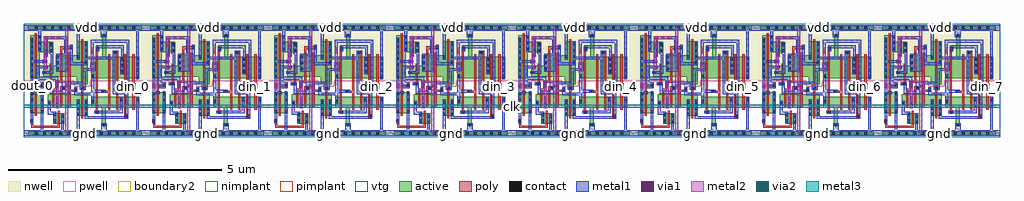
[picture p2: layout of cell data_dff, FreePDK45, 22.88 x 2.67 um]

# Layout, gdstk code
import gdstk
lib = gdstk.Library(unit=1e-6, precision=5e-10)
def R(c, l, rs):  # rectangles x0, y0, x1, y1
    for r in rs: c.add(gdstk.rectangle(r[:2], r[2:], *l))
def A(c, l, x, y, w, h, nx, ny, dx, dy):  # array of equal rectangles
    R(c, l, [(x+i*dx, y+j*dy, x+i*dx+w, y+j*dy+h) for i in range(nx) for j in range(ny)])
def P(c, l, *ps):  # polygons
    for p in ps: c.add(gdstk.Polygon(p, *l))
active = (1, 0)
pwell = (2, 0)
nwell = (3, 0)
nimplant = (4, 0)
pimplant = (5, 0)
vtg = (6, 0)
poly = (9, 0)
contact = (10, 0)
metal1 = (11, 0)
via1 = (12, 0)
metal2 = (13, 0)
via2 = (14, 0)
metal3 = (15, 0)
boundary2 = (239, 0)

dff = lib.new_cell('dff')
A(dff, active, 1.9725, 0.6, 0.05, 0.25, 4, 1, 0.19, 0)
A(dff, active, 2.0225, 0.6, 0.14, 0.25, 3, 1, 0.19, 0)
A(dff, active, 0.6625, 0.6575, 0.05, 0.25, 3, 1, 0.19, 0)
A(dff, active, 1.9725, 1.2925, 0.05, 0.5, 4, 1, 0.19, 0)
A(dff, active, 2.0225, 1.2925, 0.14, 0.5, 3, 1, 0.19, 0)
R(dff, active, [(0.1,-0.045,2.76,0.045), (0.6825,0.2225,0.7875,0.4725), (0.7875,0.2225,0.8375,0.4725), (0.8375,0.2225,0.9425,0.4725), (1.3375,0.4075,1.3875,0.9075), (1.3875,0.4075,1.4925,0.9075), (0.1475,0.4625,0.2525,0.9625), (0.2525,0.4625,0.3025,0.9625), (0.3025,0.4625,0.4575,0.9625), (1.5725,0.6,1.6775,0.85), (1.6775,0.6,1.7275,0.85), (2.5925,0.6,2.6975,0.85), (0.5525,0.6575,0.6625,0.9075), (0.7125,0.6575,0.8525,0.9075), (0.9025,0.6575,1.0425,0.9075), (1.3375,1.15,1.3875,2.15), (1.3875,1.15,1.4925,2.15), (0.1475,1.2925,0.2525,2.2925), (0.2525,1.2925,0.3025,2.2925), (1.5725,1.2925,1.6775,1.7925), (1.6775,1.2925,1.7275,1.7925), (2.5925,1.2925,2.6975,1.7925), (0.4525,1.3275,0.6025,1.5775), (0.6025,1.3275,0.6525,1.5775), (0.8525,1.3275,0.9025,1.8275), (0.9025,1.3275,1.0425,1.8275), (1.0425,1.3275,1.0925,1.8275), (0.5125,1.8925,0.5625,2.1425), (0.5625,1.8925,0.6675,2.1425), (0.1,2.425,2.76,2.515)])
P(dff, active, [(1.7275,1.2925),(1.9725,1.2925),(1.9725,1.7925),(1.9225,1.7925),(1.9225,2.3225),(1.8325,2.3225),(1.8325,1.7925),(1.7275,1.7925)],
  [(1.0925,1.3275),(1.2325,1.3275),(1.2325,1.15),(1.3375,1.15),(1.3375,2.15),(1.2325,2.15),(1.2325,1.8275),(1.0925,1.8275)],
  [(0.6525,1.3275),(0.8525,1.3275),(0.8525,1.8275),(0.7475,1.8275),(0.7475,1.5775),(0.6525,1.5775)],
  [(0.3025,1.2925),(0.3725,1.2925),(0.3725,1.8925),(0.5125,1.8925),(0.5125,2.1425),(0.4075,2.1425),(0.4075,2.2925),(0.3025,2.2925)],
  [(1.7275,0.6),(1.8225,0.6),(1.8225,0.165),(1.9125,0.165),(1.9125,0.6),(1.9725,0.6),(1.9725,0.85),(1.7275,0.85)],
  [(1.0925,0.6575),(1.2325,0.6575),(1.2325,0.4075),(1.3375,0.4075),(1.3375,0.9075),(1.0925,0.9075)])
P(dff, pwell, [(0,-0.1),(2.86,-0.1),(2.86,1.235),(1.5475,1.235),(1.5475,1.095),(1.1775,1.095),(1.1775,1.235),(0,1.235)])
P(dff, nwell, [(0,1.235),(1.1775,1.235),(1.1775,1.095),(1.5475,1.095),(1.5475,1.235),(2.86,1.235),(2.86,2.57),(0,2.57)])
A(dff, nimplant, 1.9725, 0.6, 0.05, 0.25, 4, 1, 0.19, 0)
A(dff, nimplant, 2.0225, 0.6, 0.14, 0.25, 3, 1, 0.19, 0)
A(dff, nimplant, 0.6625, 0.6575, 0.05, 0.25, 3, 1, 0.19, 0)
R(dff, nimplant, [(0.6825,0.2225,0.7875,0.4725), (0.7875,0.2225,0.8375,0.4725), (0.8375,0.2225,0.9425,0.4725), (1.3375,0.4075,1.3875,0.9075), (1.3875,0.4075,1.4925,0.9075), (0.1475,0.4625,0.2525,0.9625), (0.2525,0.4625,0.3025,0.9625), (0.3025,0.4625,0.4575,0.9625), (1.5725,0.6,1.6775,0.85), (1.6775,0.6,1.7275,0.85), (2.5925,0.6,2.6975,0.85), (0.5525,0.6575,0.6625,0.9075), (0.7125,0.6575,0.8525,0.9075), (0.9025,0.6575,1.0425,0.9075), (0.1,2.425,2.76,2.515)])
P(dff, nimplant, [(1.7275,0.6),(1.8225,0.6),(1.8225,0.165),(1.9125,0.165),(1.9125,0.6),(1.9725,0.6),(1.9725,0.85),(1.7275,0.85)],
  [(1.0925,0.6575),(1.2325,0.6575),(1.2325,0.4075),(1.3375,0.4075),(1.3375,0.9075),(1.0925,0.9075)])
A(dff, pimplant, 1.9725, 1.2925, 0.05, 0.5, 4, 1, 0.19, 0)
A(dff, pimplant, 2.0225, 1.2925, 0.14, 0.5, 3, 1, 0.19, 0)
R(dff, pimplant, [(0.1,-0.045,2.76,0.045), (1.3375,1.15,1.3875,2.15), (1.3875,1.15,1.4925,2.15), (0.1475,1.2925,0.2525,2.2925), (0.2525,1.2925,0.3025,2.2925), (1.5725,1.2925,1.6775,1.7925), (1.6775,1.2925,1.7275,1.7925), (2.5925,1.2925,2.6975,1.7925), (0.4525,1.3275,0.6025,1.5775), (0.6025,1.3275,0.6525,1.5775), (0.8525,1.3275,0.9025,1.8275), (0.9025,1.3275,1.0425,1.8275), (1.0425,1.3275,1.0925,1.8275), (0.5125,1.8925,0.5625,2.1425), (0.5625,1.8925,0.6675,2.1425)])
P(dff, pimplant, [(1.7275,1.2925),(1.9725,1.2925),(1.9725,1.7925),(1.9225,1.7925),(1.9225,2.3225),(1.8325,2.3225),(1.8325,1.7925),(1.7275,1.7925)],
  [(1.0925,1.3275),(1.2325,1.3275),(1.2325,1.15),(1.3375,1.15),(1.3375,2.15),(1.2325,2.15),(1.2325,1.8275),(1.0925,1.8275)],
  [(0.6525,1.3275),(0.8525,1.3275),(0.8525,1.8275),(0.7475,1.8275),(0.7475,1.5775),(0.6525,1.5775)],
  [(0.3025,1.2925),(0.3725,1.2925),(0.3725,1.8925),(0.5125,1.8925),(0.5125,2.1425),(0.4075,2.1425),(0.4075,2.2925),(0.3025,2.2925)])
R(dff, vtg, [(0,-0.1,2.86,2.57)])
A(dff, poly, 1.9725, 0.6, 0.05, 0.25, 4, 1, 0.19, 0)
A(dff, poly, 0.6625, 0.6025, 0.05, 0.055, 3, 1, 0.19, 0)
A(dff, poly, 0.6625, 0.6575, 0.05, 0.25, 3, 1, 0.19, 0)
A(dff, poly, 1.9725, 1.2925, 0.05, 0.5, 4, 1, 0.19, 0)
R(dff, poly, [(0.7875,0.2225,0.8375,0.4725), (1.3375,0.3525,1.3875,0.4075), (0.2525,0.4075,0.3025,0.4625), (1.3375,0.4075,1.3875,0.9075), (0.2525,0.4625,0.3025,0.9625), (0.7875,0.4725,0.8375,0.5275), (1.9725,0.545,2.0225,0.6), (2.1625,0.545,2.2125,0.6), (2.5425,0.545,2.5925,0.6), (1.6775,0.6,1.7275,0.85), (1.6775,0.85,1.7275,1.2925), (2.3525,0.85,2.4025,0.905), (1.3375,1.15,1.3875,2.15), (2.1625,1.2375,2.2125,1.2925), (0.2525,1.2925,0.3025,2.2925), (1.6775,1.2925,1.7275,1.7925), (0.6025,1.3275,0.6525,1.5775), (0.8525,1.3275,0.9025,1.8275), (1.0425,1.3275,1.0925,1.8275), (0.6025,1.5775,0.6525,1.6325), (1.9725,1.7925,2.0225,1.8475), (2.3525,1.7925,2.4025,1.8475), (2.5425,1.7925,2.5925,1.8475), (1.0425,1.8275,1.0925,1.8825), (0.5125,1.8925,0.5625,2.1425), (0.5125,2.1425,0.5625,2.1975), (1.3375,2.15,1.3875,2.205), (0.2525,2.2925,0.3025,2.3475)])
P(dff, poly, [(2.5425,0.85),(2.5925,0.85),(2.5925,1.0675),(2.6175,1.0675),(2.6175,1.1425),(2.5925,1.1425),(2.5925,1.2925),(2.5425,1.2925)],
  [(2.3525,0.365),(2.4475,0.365),(2.4475,0.44),(2.4025,0.44),(2.4025,0.6),(2.3525,0.6)],
  [(2.1075,1.8575),(2.1625,1.8575),(2.1625,1.7925),(2.2125,1.7925),(2.2125,1.9325),(2.1075,1.9325)],
  [(2.1625,0.85),(2.2125,0.85),(2.2125,1.1125),(2.4275,1.1125),(2.4275,1.1875),(2.4025,1.1875),(2.4025,1.2925),(2.3525,1.2925),(2.3525,1.1625),(2.1625,1.1625)],
  [(1.8125,0.945),(1.9725,0.945),(1.9725,0.85),(2.0225,0.85),(2.0225,1.2925),(1.9725,1.2925),(1.9725,0.995),(1.8875,0.995),(1.8875,1.02),(1.8125,1.02)],
  [(1.6775,1.7925),(1.7275,1.7925),(1.7275,1.9525),(1.7675,1.9525),(1.7675,2.0275),(1.6775,2.0275)],
  [(1.6775,0.46),(1.7525,0.46),(1.7525,0.535),(1.7275,0.535),(1.7275,0.6),(1.6775,0.6)],
  [(1.3375,0.9075),(1.3875,0.9075),(1.3875,1.01),(1.4175,1.01),(1.4175,1.085),(1.3875,1.085),(1.3875,1.15),(1.3375,1.15)],
  [(1.0425,0.9075),(1.0925,0.9075),(1.0925,0.9725),(1.2525,0.9725),(1.2525,1.0475),(1.1775,1.0475),(1.1775,1.0225),(1.0925,1.0225),(1.0925,1.3275),(1.0425,1.3275)],
  [(0.8525,1.8275),(0.9025,1.8275),(0.9025,1.9675),(1.1475,1.9675),(1.1475,2.0425),(0.8525,2.0425)],
  [(0.8525,0.9075),(0.9025,0.9075),(0.9025,1.0225),(0.9575,1.0225),(0.9575,1.0975),(0.8525,1.0975)],
  [(0.4425,1.6425),(0.5175,1.6425),(0.5175,1.7925),(0.5625,1.7925),(0.5625,1.8925),(0.5125,1.8925),(0.5125,1.8425),(0.4675,1.8425),(0.4675,1.7175),(0.4425,1.7175)],
  [(0.5675,1.1225),(0.6525,1.1225),(0.6525,1.3275),(0.6025,1.3275),(0.6025,1.1975),(0.5675,1.1975)],
  [(0.1475,0.2475),(0.1725,0.2475),(0.1725,0.1225),(0.8375,0.1225),(0.8375,0.2225),(0.7875,0.2225),(0.7875,0.1725),(0.2225,0.1725),(0.2225,0.3225),(0.1475,0.3225)],
  [(0.6625,0.9075),(0.7125,0.9075),(0.7125,0.9875),(0.7775,0.9875),(0.7775,1.1825),(0.9025,1.1825),(0.9025,1.3275),(0.8525,1.3275),(0.8525,1.2325),(0.7275,1.2325),(0.7275,1.0375),(0.6625,1.0375)],
  [(0.2525,0.9625),(0.3025,0.9625),(0.3025,1.0875),(0.4625,1.0875),(0.4625,1.1625),(0.3875,1.1625),(0.3875,1.1375),(0.3025,1.1375),(0.3025,1.2925),(0.2525,1.2925)])
A(dff, contact, 0.2575, -0.0325, 0.065, 0.065, 13, 2, 0.19, 2.47)
A(dff, contact, 1.2375, 0.4125, 0.065, 0.065, 1, 3, 0, 0.14)
A(dff, contact, 1.4225, 0.4125, 0.065, 0.065, 1, 3, 0, 0.14)
A(dff, contact, 0.1525, 0.4675, 0.065, 0.065, 1, 4, 0, 0.14)
A(dff, contact, 0.3875, 0.4675, 0.065, 0.065, 1, 4, 0, 0.14)
A(dff, contact, 0.1525, 1.2975, 0.065, 0.065, 1, 7, 0, 0.14)
A(dff, contact, 2.6275, 1.3025, 0.065, 0.065, 1, 4, 0, 0.14)
A(dff, contact, 2.2525, 1.4175, 0.065, 0.065, 1, 3, 0, 0.14)
A(dff, contact, 0.7525, 1.4775, 0.065, 0.065, 1, 3, 0, 0.14)
A(dff, contact, 1.4225, 1.6275, 0.065, 0.065, 1, 4, 0, 0.14)
A(dff, contact, 0.3375, 1.9425, 0.065, 0.065, 1, 3, 0, 0.14)
R(dff, contact, [(1.8425,0.17,1.9075,0.235), (0.8725,0.2275,0.9375,0.2925), (0.1525,0.2525,0.2175,0.3175), (0.6875,0.2625,0.7525,0.3275), (0.8725,0.3675,0.9375,0.4325), (2.3775,0.37,2.4425,0.435), (0.6875,0.4025,0.7525,0.4675), (1.6825,0.465,1.7475,0.53), (2.2475,0.605,2.3125,0.67), (2.6275,0.605,2.6925,0.67), (0.5575,0.6625,0.6225,0.7275), (0.7475,0.6625,0.8125,0.7275), (1.5775,0.72,1.6425,0.785), (2.2475,0.745,2.3125,0.81), (2.6275,0.745,2.6925,0.81), (1.8175,0.95,1.8825,1.015), (1.1825,0.9775,1.2475,1.0425), (1.3475,1.015,1.4125,1.08), (0.8875,1.0275,0.9525,1.0925), (2.5475,1.0725,2.6125,1.1375), (0.3925,1.0925,0.4575,1.1575), (2.3575,1.1175,2.4225,1.1825), (0.5725,1.1275,0.6375,1.1925), (1.5775,1.2975,1.6425,1.3625), (0.4575,1.3875,0.5225,1.4525), (0.4475,1.6475,0.5125,1.7125), (1.2375,1.7575,1.3025,1.8225), (2.1125,1.8625,2.1775,1.9275), (0.5975,1.8975,0.6625,1.9625), (1.6975,1.9575,1.7625,2.0225), (1.0775,1.9725,1.1425,2.0375), (0.5975,2.0375,0.6625,2.1025), (1.8375,2.2525,1.9025,2.3175)])
R(dff, metal1, [(0,-0.065,2.86,0.065), (0,-0.065,2.86,0.065), (0.7475,0.5875,0.8125,0.8625), (0.1525,0.915,0.2175,1.1275), (0.8875,0.9275,1.0825,1.2075), (2.5375,1.0375,2.615,1.1725), (0.15,1.0475,0.2275,1.1825), (0.4675,1.7775,0.5325,2.1275), (0.1,2.405,2.86,2.535), (0.1,2.405,2.86,2.535)])
P(dff, metal1, [(0,2.405),(0.3375,2.405),(0.3375,1.9075),(0.4025,1.9075),(0.4025,2.405),(1.2375,2.405),(1.2375,1.7225),(1.3025,1.7225),(1.3025,2.405),(1.8025,2.405),(1.8025,2.2525),(1.9375,2.2525),(1.9375,2.405),(2.6275,2.405),(2.6275,1.2675),(2.6925,1.2675),(2.6925,2.405),(2.76,2.405),(2.76,2.535),(0,2.535)],
  [(0.1,-0.065),(2.76,-0.065),(2.76,0.065),(2.6925,0.065),(2.6925,0.845),(2.6275,0.845),(2.6275,0.065),(1.9425,0.065),(1.9425,0.235),(1.8075,0.235),(1.8075,0.065),(1.3025,0.065),(1.3025,0.7925),(1.2375,0.7925),(1.2375,0.065),(0.9375,0.065),(0.9375,0.4675),(0.8725,0.4675),(0.8725,0.065),(0.4525,0.065),(0.4525,0.9875),(0.3875,0.9875),(0.3875,0.065),(0.1,0.065)],
  [(1.0775,1.5925),(1.4875,1.5925),(1.4875,1.7325),(2.0775,1.7325),(2.0775,0.91),(2.3775,0.91),(2.3775,0.4),(1.4875,0.4),(1.4875,0.7925),(1.4225,0.7925),(1.4225,0.335),(2.4425,0.335),(2.4425,0.975),(2.1425,0.975),(2.1425,1.8625),(2.2125,1.8625),(2.2125,1.9275),(2.0775,1.9275),(2.0775,1.7975),(1.4875,1.7975),(1.4875,2.1475),(1.4225,2.1475),(1.4225,1.6575),(1.1425,1.6575),(1.1425,2.0725),(1.0775,2.0725)],
  [(0.5375,1.1275),(0.6075,1.1275),(0.6075,0.9275),(1.0825,0.9275),(1.0825,1.1425),(1.3125,1.1425),(1.3125,1.015),(1.4475,1.015),(1.4475,1.4625),(1.6875,1.4625),(1.6875,1.6675),(1.5525,1.6675),(1.5525,1.5275),(1.3825,1.5275),(1.3825,1.2075),(0.8875,1.2075),(0.8875,0.9925),(0.6725,0.9925),(0.6725,1.1925),(0.5375,1.1925)],
  [(1.5675,1.8625),(1.6325,1.8625),(1.6325,2.1225),(2.4075,2.1225),(2.4075,1.1825),(2.3225,1.1825),(2.3225,1.1175),(2.4725,1.1175),(2.4725,2.1875),(1.5675,2.1875)],
  [(1.6975,1.9225),(1.7625,1.9225),(1.7625,1.9925),(2.2775,1.9925),(2.2775,1.7975),(2.2525,1.7975),(2.2525,1.3825),(2.3425,1.3825),(2.3425,2.0575),(1.6975,2.0575)],
  [(1.6475,0.465),(2.3125,0.465),(2.3125,0.845),(2.2475,0.845),(2.2475,0.53),(1.6475,0.53)],
  [(1.1825,0.885),(1.5775,0.885),(1.5775,0.685),(1.6425,0.685),(1.6425,0.95),(1.9175,0.95),(1.9175,1.015),(1.6425,1.015),(1.6425,1.3975),(1.5775,1.3975),(1.5775,0.95),(1.2475,0.95),(1.2475,1.0775),(1.1825,1.0775)],
  [(0.4675,2.2025),(0.9475,2.2025),(0.9475,1.8575),(0.7525,1.8575),(0.7525,1.4425),(1.0125,1.4425),(1.0125,2.2675),(0.4675,2.2675)],
  [(0.2925,1.0575),(0.4575,1.0575),(0.4575,1.1925),(0.3575,1.1925),(0.3575,1.2575),(0.7425,1.2575),(0.7425,1.0575),(0.8075,1.0575),(0.8075,1.3225),(0.3575,1.3225),(0.3575,1.5175),(0.5575,1.5175),(0.5575,1.5825),(0.2925,1.5825)],
  [(0.4225,1.3875),(0.6875,1.3875),(0.6875,2.1375),(0.5975,2.1375),(0.5975,1.8625),(0.6225,1.8625),(0.6225,1.4525),(0.4225,1.4525)],
  [(0.1525,0.2175),(0.2175,0.2175),(0.2175,0.9175),(0.3225,0.9175),(0.3225,0.9825),(0.2175,0.9825),(0.2175,1.6475),(0.5475,1.6475),(0.5475,1.7125),(0.2175,1.7125),(0.2175,2.2375),(0.1525,2.2375)],
  [(0.5575,0.4375),(0.6875,0.4375),(0.6875,0.2275),(0.7525,0.2275),(0.7525,0.5025),(0.6225,0.5025),(0.6225,0.7625),(0.5575,0.7625)])
A(dff, via1, 0.5025, 2.2025, 0.065, 0.065, 3, 1, 0.14, 0)
R(dff, via1, [(0.7475,0.6225,0.8125,0.6875), (0.7475,0.7625,0.8125,0.8275), (0.97,1.0725,1.035,1.1375), (2.5475,1.0725,2.6125,1.1375), (0.155,1.0825,0.22,1.1475), (0.7425,1.0925,0.8075,1.1575), (1.5875,1.4625,1.6525,1.5275), (0.4575,1.5175,0.5225,1.5825), (1.5875,1.6025,1.6525,1.6675), (0.4675,1.8125,0.5325,1.8775), (1.5675,1.8975,1.6325,1.9625), (0.4675,2.0275,0.5325,2.0925)])
R(dff, metal2, [(0.7425,0.5875,0.8125,1.1925), (0.9625,1.0375,1.04,1.1725), (0.9625,1.0375,1.04,1.1725), (2.5375,1.0375,2.615,1.1725), (2.5375,1.0375,2.615,1.1725), (0.15,1.0475,0.2275,1.1825), (0.15,1.0475,0.2275,1.1825)])
P(dff, metal2, [(1.5675,1.4275),(1.6525,1.4275),(1.6525,1.7025),(1.6375,1.7025),(1.6375,1.9975),(1.5675,1.9975)],
  [(0.4675,1.9925),(0.5375,1.9925),(0.5375,2.1975),(0.8825,2.1975),(0.8825,2.2675),(0.4675,2.2675)],
  [(0.4575,1.4825),(0.5275,1.4825),(0.5275,1.7775),(0.5325,1.7775),(0.5325,1.9125),(0.4575,1.9125)])
R(dff, boundary2, [(0,0,2.86,2.475)])
dff.add(gdstk.Label('clk', (0.995,1.15), layer=13, texttype=0))
dff.add(gdstk.Label('D', (2.565,1.15), layer=13, texttype=0))
dff.add(gdstk.Label('Q', (0.175,1.1), layer=13, texttype=0))
dff.add(gdstk.Label('gnd', (1.215,0.0425), layer=11, texttype=0))
dff.add(gdstk.Label('vdd', (0.825,2.5325), layer=11, texttype=0))
dff.add(gdstk.Label('D', (2.576,1.105), layer=13, texttype=0))
dff.add(gdstk.Label('Q', (0.189,1.115), layer=13, texttype=0))
dff.add(gdstk.Label('clk', (1.001,1.105), layer=13, texttype=0))
dff.add(gdstk.Label('vdd', (1.48,2.47), layer=11, texttype=0))
dff.add(gdstk.Label('gnd', (1.43,0), layer=11, texttype=0))

contact_5 = lib.new_cell('contact_5')
R(contact_5, metal1, [(0,0.0025,0.135,0.0675)])
R(contact_5, via1, [(0.035,0.0025,0.1,0.0675)])
R(contact_5, metal2, [(0,0,0.135,0.07)])

contact_6 = lib.new_cell('contact_6')
R(contact_6, metal2, [(0,0,0.135,0.07)])
R(contact_6, via2, [(0.035,0.0025,0.1,0.0675)])
R(contact_6, metal3, [(0,0,0.135,0.07)])

contact_7 = lib.new_cell('contact_7')
R(contact_7, metal2, [(0.0325,0,0.1025,0.135)])
R(contact_7, via2, [(0.035,0.035,0.1,0.1)])
R(contact_7, metal3, [(0,0.0325,0.135,0.1025)])

data_dff = lib.new_cell('data_dff')
A(data_dff, metal2, 0.9625, 0, 0.07, 2.475, 8, 1, 2.86, 0)
A(data_dff, metal2, 2.5375, 1.0375, 0.0775, 0.135, 8, 1, 2.86, 0)
A(data_dff, metal2, 0.15, 1.0475, 0.0775, 0.135, 8, 1, 2.86, 0)
A(data_dff, metal3, 1.3625, -0.035, 0.135, 0.07, 8, 1, 2.86, 0)
A(data_dff, metal3, 1.4125, 2.435, 0.135, 0.07, 8, 1, 2.86, 0)
R(data_dff, metal3, [(0,0.595,22.88,0.665)])
R(data_dff, boundary2, [(0,0,22.88,2.475)])
data_dff.add(gdstk.Reference(dff, (0,0)))
data_dff.add(gdstk.Reference(dff, (2.86,0)))
data_dff.add(gdstk.Reference(dff, (5.72,0)))
data_dff.add(gdstk.Reference(dff, (8.58,0)))
data_dff.add(gdstk.Reference(dff, (11.44,0)))
data_dff.add(gdstk.Reference(dff, (14.3,0)))
data_dff.add(gdstk.Reference(dff, (17.16,0)))
data_dff.add(gdstk.Reference(dff, (20.02,0)))
data_dff.add(gdstk.Reference(contact_5, (1.4125,2.435)))
data_dff.add(gdstk.Reference(contact_6, (1.4125,2.435)))
data_dff.add(gdstk.Reference(contact_5, (1.3625,-0.035)))
data_dff.add(gdstk.Reference(contact_6, (1.3625,-0.035)))
data_dff.add(gdstk.Reference(contact_5, (4.2725,2.435)))
data_dff.add(gdstk.Reference(contact_6, (4.2725,2.435)))
data_dff.add(gdstk.Reference(contact_5, (4.2225,-0.035)))
data_dff.add(gdstk.Reference(contact_6, (4.2225,-0.035)))
data_dff.add(gdstk.Reference(contact_5, (7.1325,2.435)))
data_dff.add(gdstk.Reference(contact_6, (7.1325,2.435)))
data_dff.add(gdstk.Reference(contact_5, (7.0825,-0.035)))
data_dff.add(gdstk.Reference(contact_6, (7.0825,-0.035)))
data_dff.add(gdstk.Reference(contact_5, (9.9925,2.435)))
data_dff.add(gdstk.Reference(contact_6, (9.9925,2.435)))
data_dff.add(gdstk.Reference(contact_5, (9.9425,-0.035)))
data_dff.add(gdstk.Reference(contact_6, (9.9425,-0.035)))
data_dff.add(gdstk.Reference(contact_5, (12.8525,2.435)))
data_dff.add(gdstk.Reference(contact_6, (12.8525,2.435)))
data_dff.add(gdstk.Reference(contact_5, (12.8025,-0.035)))
data_dff.add(gdstk.Reference(contact_6, (12.8025,-0.035)))
data_dff.add(gdstk.Reference(contact_5, (15.7125,2.435)))
data_dff.add(gdstk.Reference(contact_6, (15.7125,2.435)))
data_dff.add(gdstk.Reference(contact_5, (15.6625,-0.035)))
data_dff.add(gdstk.Reference(contact_6, (15.6625,-0.035)))
data_dff.add(gdstk.Reference(contact_5, (18.5725,2.435)))
data_dff.add(gdstk.Reference(contact_6, (18.5725,2.435)))
data_dff.add(gdstk.Reference(contact_5, (18.5225,-0.035)))
data_dff.add(gdstk.Reference(contact_6, (18.5225,-0.035)))
data_dff.add(gdstk.Reference(contact_5, (21.4325,2.435)))
data_dff.add(gdstk.Reference(contact_6, (21.4325,2.435)))
data_dff.add(gdstk.Reference(contact_5, (21.3825,-0.035)))
data_dff.add(gdstk.Reference(contact_6, (21.3825,-0.035)))
data_dff.add(gdstk.Reference(contact_7, (0.935,0.5625)))
data_dff.add(gdstk.Reference(contact_7, (3.795,0.5625)))
data_dff.add(gdstk.Reference(contact_7, (6.655,0.5625)))
data_dff.add(gdstk.Reference(contact_7, (9.515,0.5625)))
data_dff.add(gdstk.Reference(contact_7, (12.375,0.5625)))
data_dff.add(gdstk.Reference(contact_7, (15.235,0.5625)))
data_dff.add(gdstk.Reference(contact_7, (18.095,0.5625)))
data_dff.add(gdstk.Reference(contact_7, (20.955,0.5625)))
data_dff.add(gdstk.Label('vdd', (12.92,2.47), layer=15, texttype=0))
data_dff.add(gdstk.Label('vdd', (18.64,2.47), layer=15, texttype=0))
data_dff.add(gdstk.Label('vdd', (4.34,2.47), layer=15, texttype=0))
data_dff.add(gdstk.Label('vdd', (10.06,2.47), layer=15, texttype=0))
data_dff.add(gdstk.Label('vdd', (21.5,2.47), layer=15, texttype=0))
data_dff.add(gdstk.Label('vdd', (7.2,2.47), layer=15, texttype=0))
data_dff.add(gdstk.Label('vdd', (1.48,2.47), layer=15, texttype=0))
data_dff.add(gdstk.Label('vdd', (15.78,2.47), layer=15, texttype=0))
data_dff.add(gdstk.Label('gnd', (4.29,0), layer=15, texttype=0))
data_dff.add(gdstk.Label('gnd', (7.15,0), layer=15, texttype=0))
data_dff.add(gdstk.Label('gnd', (15.73,0), layer=15, texttype=0))
data_dff.add(gdstk.Label('gnd', (21.45,0), layer=15, texttype=0))
data_dff.add(gdstk.Label('gnd', (1.43,0), layer=15, texttype=0))
data_dff.add(gdstk.Label('gnd', (12.87,0), layer=15, texttype=0))
data_dff.add(gdstk.Label('gnd', (10.01,0), layer=15, texttype=0))
data_dff.add(gdstk.Label('gnd', (18.59,0), layer=15, texttype=0))
data_dff.add(gdstk.Label('din_0', (2.576,1.105), layer=13, texttype=0))
data_dff.add(gdstk.Label('dout_0', (0.189,1.115), layer=13, texttype=0))
data_dff.add(gdstk.Label('din_1', (5.436,1.105), layer=13, texttype=0))
data_dff.add(gdstk.Label('dout_1', (3.049,1.115), layer=13, texttype=0))
data_dff.add(gdstk.Label('din_2', (8.296,1.105), layer=13, texttype=0))
data_dff.add(gdstk.Label('dout_2', (5.9085,1.115), layer=13, texttype=0))
data_dff.add(gdstk.Label('din_3', (11.156,1.105), layer=13, texttype=0))
data_dff.add(gdstk.Label('dout_3', (8.769,1.115), layer=13, texttype=0))
data_dff.add(gdstk.Label('din_4', (14.016,1.105), layer=13, texttype=0))
data_dff.add(gdstk.Label('dout_4', (11.629,1.115), layer=13, texttype=0))
data_dff.add(gdstk.Label('din_5', (16.876,1.105), layer=13, texttype=0))
data_dff.add(gdstk.Label('dout_5', (14.489,1.115), layer=13, texttype=0))
data_dff.add(gdstk.Label('din_6', (19.7365,1.105), layer=13, texttype=0))
data_dff.add(gdstk.Label('dout_6', (17.349,1.115), layer=13, texttype=0))
data_dff.add(gdstk.Label('din_7', (22.596,1.105), layer=13, texttype=0))
data_dff.add(gdstk.Label('dout_7', (20.209,1.115), layer=13, texttype=0))
data_dff.add(gdstk.Label('clk', (11.44,0.63), layer=15, texttype=0))

lib.write_gds('data_dff.gds')
